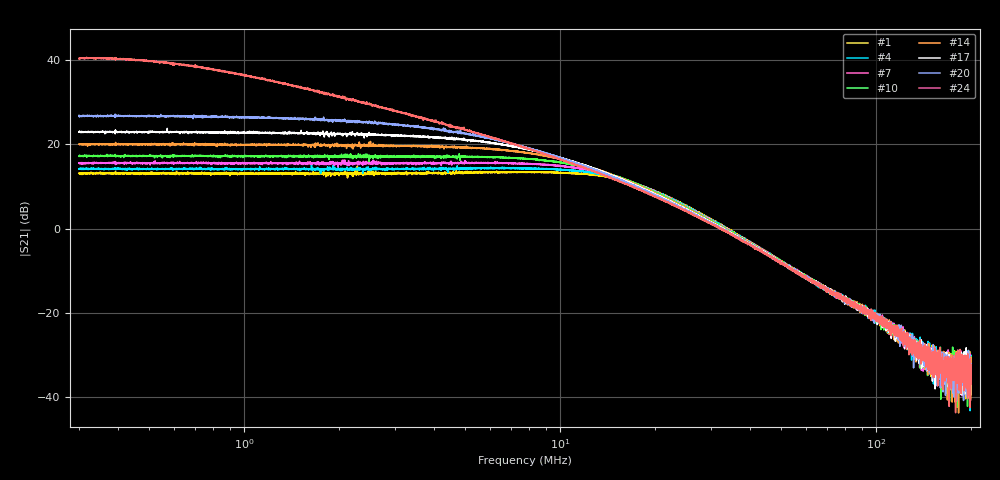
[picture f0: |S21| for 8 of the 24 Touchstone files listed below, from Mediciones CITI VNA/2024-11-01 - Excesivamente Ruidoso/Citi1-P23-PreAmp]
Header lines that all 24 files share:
# Hz S DB R 50
! CMT, M5065, 19127446, 24.2.4/2
! Data: Format (Calibration Info)
! Freq	S11:dB/Ang(F2)	S21:dB/Ang(F2)	S12:dB/Ang(F2)	S22:dB/Ang(F2)
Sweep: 300 kHz to 200 MHz
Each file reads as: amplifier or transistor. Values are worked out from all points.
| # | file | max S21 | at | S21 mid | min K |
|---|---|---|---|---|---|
| 1 | ganancia_40.s2p | 14.8 dB | 2.282 MHz | 13.4 dB at 7.749 MHz | -2330.63 |
| 2 | ganancia_41.s2p | 14.4 dB | 2.058 MHz | 13.7 dB at 7.749 MHz | -2707.45 |
| 3 | ganancia_42.s2p | 15.1 dB | 1.644 MHz | 14.0 dB at 7.749 MHz | -6039.02 |
| 4 | ganancia_43.s2p | 15.1 dB | 1.634 MHz | 14.2 dB at 7.749 MHz | -2091.25 |
| 5 | ganancia_44.s2p | 16.0 dB | 2.22 MHz | 14.7 dB at 7.749 MHz | -4935.90 |
| 6 | ganancia_45.s2p | 16.1 dB | 1.92 MHz | 15.1 dB at 7.749 MHz | -1406.42 |
| 7 | ganancia_46.s2p | 16.3 dB | 2.561 MHz | 15.4 dB at 7.749 MHz | -5078.76 |
| 8 | ganancia_47.s2p | 16.5 dB | 1.453 MHz | 15.7 dB at 7.749 MHz | -1640.14 |
| 9 | ganancia_48.s2p | 17.3 dB | 4.148 MHz | 16.3 dB at 7.749 MHz | -3619.33 |
| 10 | ganancia_49.s2p | 17.8 dB | 2.3 MHz | 16.7 dB at 7.749 MHz | -1710.31 |
| 11 | ganancia_50.s2p | 18.3 dB | 2.599 MHz | 17.0 dB at 7.749 MHz | -2324.14 |
| 12 | ganancia_51.s2p | 19.2 dB | 2.132 MHz | 17.2 dB at 7.749 MHz | -1378.01 |
| 13 | ganancia_52.s2p | 20.0 dB | 588.3 kHz | 17.7 dB at 7.749 MHz | -2001.70 |
| 14 | ganancia_53.s2p | 20.7 dB | 2.512 MHz | 18.0 dB at 7.749 MHz | -3050.19 |
| 15 | ganancia_54.s2p | 21.5 dB | 2.378 MHz | 18.4 dB at 7.749 MHz | -1689.64 |
| 16 | ganancia_55.s2p | 22.0 dB | 2.059 MHz | 18.6 dB at 7.749 MHz | -2038.81 |
| 17 | ganancia_56.s2p | 23.8 dB | 571.1 kHz | 19.0 dB at 7.749 MHz | -3078.81 |
| 18 | ganancia_57.s2p | 24.7 dB | 734.9 kHz | 19.1 dB at 7.749 MHz | -6654.98 |
| 19 | ganancia_58.s2p | 25.7 dB | 348.9 kHz | 19.3 dB at 7.749 MHz | -4886.37 |
| 20 | ganancia_59.s2p | 27.1 dB | 390.5 kHz | 19.4 dB at 7.749 MHz | -1862.33 |
| 21 | ganancia_60.s2p | 29.8 dB | 345.6 kHz | 19.5 dB at 7.749 MHz | -3222.62 |
| 22 | ganancia_61.s2p | 32.2 dB | 391.4 kHz | 19.4 dB at 7.749 MHz | -4974.79 |
| 23 | ganancia_62.s2p | 35.7 dB | 391.9 kHz | 19.4 dB at 7.749 MHz | -1244.23 |
| 24 | ganancia_63.s2p | 40.6 dB | 317.4 kHz | 19.2 dB at 7.749 MHz | -1691.84 |
